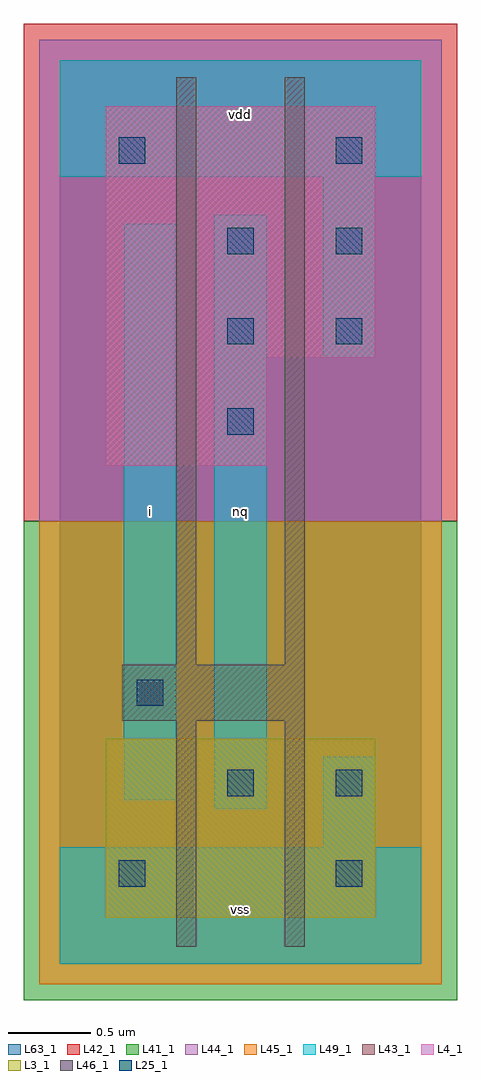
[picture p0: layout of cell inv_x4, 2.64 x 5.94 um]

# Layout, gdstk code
import gdstk
lib = gdstk.Library(unit=1e-6, precision=1e-09)
def R(c, l, rs):  # rectangles x0, y0, x1, y1
    for r in rs: c.add(gdstk.rectangle(r[:2], r[2:], *l))
def A(c, l, x, y, w, h, nx, ny, dx, dy):  # array of equal rectangles
    R(c, l, [(x+i*dx, y+j*dy, x+i*dx+w, y+j*dy+h) for i in range(nx) for j in range(ny)])
L3_1 = (3, 1)
L4_1 = (4, 1)
L25_1 = (25, 1)
L41_1 = (41, 1)
L42_1 = (42, 1)
L43_1 = (43, 1)
L44_1 = (44, 1)
L45_1 = (45, 1)
L46_1 = (46, 1)
L49_1 = (49, 1)
L63_1 = (63, 1)

inv_x4 = lib.new_cell('inv_x4')
R(inv_x4, L3_1, [(0.28,0.28,1.92,1.37)])
R(inv_x4, L4_1, [(0.28,3.03,1.26,3.69), (0.28,3.69,1.92,5.22)])
A(inv_x4, L25_1, 1.02, 3.22, 0.16, 0.16, 1, 3, 0, 0.55)
A(inv_x4, L25_1, 1.68, 3.77, 0.16, 0.16, 1, 3, 0, 0.55)
R(inv_x4, L25_1, [(0.36,0.47,0.52,0.63), (1.68,0.47,1.84,0.63), (1.02,1.02,1.18,1.18), (1.68,1.02,1.84,1.18), (0.47,1.57,0.63,1.73), (0.36,4.87,0.52,5.03)])
R(inv_x4, L41_1, [(-0.22,-0.22,2.42,2.695)])
R(inv_x4, L42_1, [(-0.22,2.695,2.42,5.72)])
R(inv_x4, L43_1, [(0.28,0.28,1.92,1.37), (0.28,3.03,1.26,3.69), (0.28,3.69,1.92,5.22)])
R(inv_x4, L44_1, [(-0.125,2.695,2.325,5.625)])
R(inv_x4, L45_1, [(-0.125,-0.125,2.325,2.695)])
R(inv_x4, L46_1, [(0.71,0.105,0.83,1.48), (1.37,0.105,1.49,1.48), (0.38,1.48,1.49,1.82), (0.71,1.82,0.83,5.395), (1.37,1.82,1.49,5.395)])
R(inv_x4, L49_1, [(0,0,2.2,0.71), (1.6,0.71,1.92,1.26), (0.94,0.94,1.26,4.56), (0.39,0.995,0.71,4.505), (1.6,3.69,1.92,4.79), (0,4.79,2.2,5.5)])
R(inv_x4, L63_1, [(0,0,2.2,5.5)])
inv_x4.add(gdstk.Label('i', (0.55,2.75), layer=49, texttype=1))
inv_x4.add(gdstk.Label('i', (0.55,2.75), layer=49, texttype=1))
inv_x4.add(gdstk.Label('vss', (1.1,0.33), layer=49, texttype=1))
inv_x4.add(gdstk.Label('vss', (1.1,0.33), layer=49, texttype=1))
inv_x4.add(gdstk.Label('nq', (1.1,2.75), layer=49, texttype=1))
inv_x4.add(gdstk.Label('nq', (1.1,2.75), layer=49, texttype=1))
inv_x4.add(gdstk.Label('vdd', (1.1,5.17), layer=49, texttype=1))
inv_x4.add(gdstk.Label('vdd', (1.1,5.17), layer=49, texttype=1))

lib.write_gds('inv_x4.gds')
